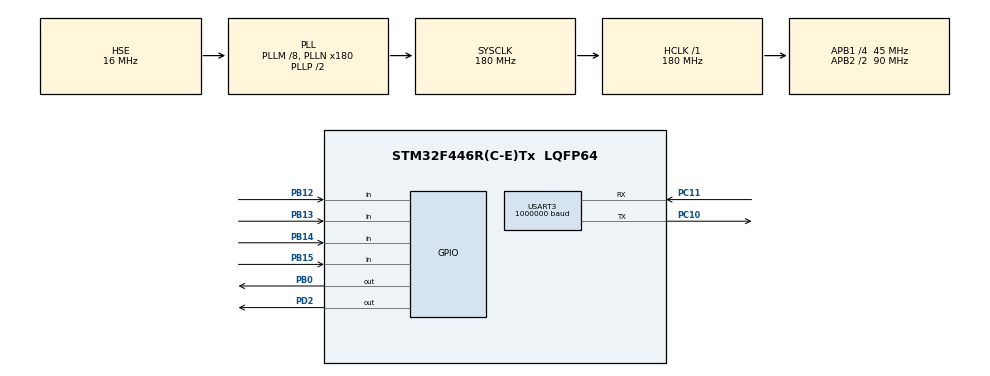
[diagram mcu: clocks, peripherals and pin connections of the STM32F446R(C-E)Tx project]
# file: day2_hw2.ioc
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Dma.Request0=USART3_RX
Dma.USART3_RX.0.Direction=DMA_PERIPH_TO_MEMORY
Dma.USART3_RX.0.FIFOMode=DMA_FIFOMODE_DISABLE
Dma.USART3_RX.0.Instance=DMA1_Stream1
Dma.USART3_RX.0.MemDataAlignment=DMA_MDATAALIGN_BYTE
Dma.USART3_RX.0.MemInc=DMA_MINC_ENABLE
Dma.USART3_RX.0.Mode=DMA_CIRCULAR
Dma.USART3_RX.0.PeriphDataAlignment=DMA_PDATAALIGN_BYTE
Dma.USART3_RX.0.PeriphInc=DMA_PINC_DISABLE
Dma.USART3_RX.0.Priority=DMA_PRIORITY_LOW
Mcu.Family=STM32F4
Mcu.Name=STM32F446R(C-E)Tx
Mcu.Package=LQFP64
NVIC.DMA1_Stream1_IRQn=true\:0\:0\:false\:false\:true\:false\:true\:true
NVIC.PriorityGroup=NVIC_PRIORITYGROUP_4
NVIC.TIM6_DAC_IRQn=true\:0\:0\:false\:false\:true\:true\:true\:true
NVIC.USART3_IRQn=true\:0\:0\:false\:false\:true\:true\:true\:true
PA13.Mode=Serial_Wire
PA13.Signal=SYS_JTMS-SWDIO
PA14.Mode=Serial_Wire
PA14.Signal=SYS_JTCK-SWCLK
PB0.Signal=GPIO_Output
PB12.Signal=GPIO_Input
PB13.Signal=GPIO_Input
PB14.Signal=GPIO_Input
PB15.Signal=GPIO_Input
PC10.Mode=Asynchronous
PC10.Signal=USART3_TX
PC11.Mode=Asynchronous
PC11.Signal=USART3_RX
PD2.Signal=GPIO_Output
PH0-OSC_IN.Mode=HSE-External-Oscillator
PH0-OSC_IN.Signal=RCC_OSC_IN
PH1-OSC_OUT.Mode=HSE-External-Oscillator
PH1-OSC_OUT.Signal=RCC_OSC_OUT
ProjectManager.HeapSize=0x200
ProjectManager.StackSize=0x400
ProjectManager.TargetToolchain=STM32CubeIDE
RCC.AHBFreq_Value=180000000
RCC.APB1CLKDivider=RCC_HCLK_DIV4
RCC.APB1Freq_Value=45000000
RCC.APB1TimFreq_Value=90000000
RCC.APB2CLKDivider=RCC_HCLK_DIV2
RCC.APB2Freq_Value=90000000
RCC.APB2TimFreq_Value=180000000
RCC.CortexFreq_Value=180000000
RCC.HCLKFreq_Value=180000000
RCC.HSE_VALUE=16000000
RCC.PLLM=8
RCC.PLLN=180
RCC.PLLSourceVirtual=RCC_PLLSOURCE_HSE
RCC.SYSCLKFreq_VALUE=180000000
RCC.SYSCLKSource=RCC_SYSCLKSOURCE_PLLCLK
RCC.USBFreq_Value=180000000
RCC.VCOOutputFreq_Value=360000000
TIM6.Period=100-1
TIM6.Prescaler=90-1
USART3.BaudRate=1000000
USART3.VirtualMode=VM_ASYNC
VP_TIM6_VS_ClockSourceINT.Mode=Enable_Timer
board=custom

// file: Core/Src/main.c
/* USER CODE BEGIN Header */
/**
  ******************************************************************************
  * @file           : main.c
  * @brief          : Main program body  (Torque-only test)
  ******************************************************************************
  */
/* USER CODE END Header */
#include "main.h"
#include "dma.h"
#include "tim.h"
#include "usart.h"
#include "gpio.h"

/* USER CODE BEGIN PD */
#define RX_BUFFER_SIZE 256
/* USER CODE END PD */

/* USER CODE BEGIN PV */
uint8_t PCrxBuffer[RX_BUFFER_SIZE];

/* 디버깅용: 마지막으로 보낸 패킷 확인 */
uint8_t lastPacket[16];
uint8_t lastPacketLen = 0;
volatile uint8_t packetReady = 0;
/* USER CODE END PV */

void SystemClock_Config(void);
/* USER CODE BEGIN PFP */
unsigned short update_crc(unsigned short crc_accum, unsigned char *data_blk_ptr, unsigned short data_blk_size);
void writePacket(uint8_t packet[], int length);
void setTorque(uint8_t id, uint8_t on);
void write1Byte(uint8_t id, uint16_t addr, uint8_t data);
void setGoalPosition(uint8_t id, uint32_t position);
/* USER CODE END PFP */

int main(void)
{

  /* MCU Configuration--------------------------------------------------------*/

  /* Reset of all peripherals, Initializes the Flash interface and the Systick. */
  HAL_Init();

  /* Configure the system clock */
  SystemClock_Config();

  /* Initialize all configured peripherals */
  MX_GPIO_Init();
  MX_DMA_Init();
  MX_TIM6_Init();
  MX_USART3_UART_Init();
  /* USER CODE BEGIN 2 */
  LL_DMA_SetMemoryAddress(DMA1, LL_DMA_STREAM_1, (uint32_t)PCrxBuffer);
  LL_DMA_SetPeriphAddress(DMA1, LL_DMA_STREAM_1, (uint32_t)&USART3->DR);
  LL_DMA_SetDataLength(DMA1, LL_DMA_STREAM_1, RX_BUFFER_SIZE);
  LL_DMA_EnableStream(DMA1, LL_DMA_STREAM_1);
  LL_USART_EnableDMAReq_RX(USART3);
  LL_USART_EnableIT_IDLE(USART3);

  /* 모터 부팅 대기 후 토크 ON 한 번만 전송 */
  LL_mDelay(500);            // 모터 부팅 대기
  setTorque(14, 0);          // 1. 토크 OFF
  LL_mDelay(10);
  write1Byte(14, 11, 3);     // 2. Operating Mode = 3 (위치 모드)
  LL_mDelay(50);             //    EEPROM 저장 대기
  setTorque(14, 1);          // 3. 토크 ON
  LL_mDelay(10);
  setGoalPosition(14, 2048); // 4. 테스트: 180도로 이동

  /* setTorque 패킷 기대값:
     FF FF FD 00 0E 06 00 03 40 00 01 [CRC_L] [CRC_H]
     -> lastPacket 에서 확인 */
  /* USER CODE END 2 */

  /* Infinite loop */
  while (1)
  {

    /* USER CODE BEGIN 3 */

	  setTorque(14, 1);          // 3. 토크 ON
	  HAL_GPIO_WritePin(GPIOD, GPIO_PIN_2, GPIO_PIN_RESET);
	  if (HAL_GPIO_ReadPin(GPIOB, GPIO_PIN_12)){
		  setGoalPosition(14, 1024); // 4. 테스트: 90도로 이동
		  HAL_GPIO_WritePin(GPIOB, GPIO_PIN_0, GPIO_PIN_RESET);
	  }
	  else if (HAL_GPIO_ReadPin(GPIOB, GPIO_PIN_13)){
	  		  setGoalPosition(14, 2048); // 4. 테스트: 90도로 이동
	  		  HAL_GPIO_WritePin(GPIOB, GPIO_PIN_0, GPIO_PIN_RESET);
	  	  }
	  else if (HAL_GPIO_ReadPin(GPIOB, GPIO_PIN_14)){
	  		  setGoalPosition(14, 10); // 4. 테스트: 90도로 이동
	  		  HAL_GPIO_WritePin(GPIOB, GPIO_PIN_0, GPIO_PIN_RESET);
	  	  }
	  else{
		  setTorque(14, 0);      // 토크 명령 반복 전송
		  HAL_GPIO_WritePin(GPIOB, GPIO_PIN_0, GPIO_PIN_SET);
	  }
	      LL_mDelay(1000);       // 1초마다

    /* 아무것도 안 함. 토크가 걸리는지 손으로 모터를 돌려 확인.
       뻑뻑하면 토크 ON 성공, 스르륵 돌아가면 실패. */
  }
  /* USER CODE END 3 */
}

void SystemClock_Config(void)
{
  RCC_OscInitTypeDef RCC_OscInitStruct = {0};
  RCC_ClkInitTypeDef RCC_ClkInitStruct = {0};

  /** Configure the main internal regulator output voltage
  */
  __HAL_RCC_PWR_CLK_ENABLE();
  __HAL_PWR_VOLTAGESCALING_CONFIG(PWR_REGULATOR_VOLTAGE_SCALE1);

  /** Initializes the RCC Oscillators according to the specified parameters
  * in the RCC_OscInitTypeDef structure.
  */
  RCC_OscInitStruct.OscillatorType = RCC_OSCILLATORTYPE_HSE;
  RCC_OscInitStruct.HSEState = RCC_HSE_ON;
  RCC_OscInitStruct.PLL.PLLState = RCC_PLL_ON;
  RCC_OscInitStruct.PLL.PLLSource = RCC_PLLSOURCE_HSE;
  RCC_OscInitStruct.PLL.PLLM = 8;
  RCC_OscInitStruct.PLL.PLLN = 180;
  RCC_OscInitStruct.PLL.PLLP = RCC_PLLP_DIV2;
  RCC_OscInitStruct.PLL.PLLQ = 2;
  RCC_OscInitStruct.PLL.PLLR = 2;
  if (HAL_RCC_OscConfig(&RCC_OscInitStruct) != HAL_OK)
  {
    Error_Handler();
  }

  /** Activate the Over-Drive mode
  */
  if (HAL_PWREx_EnableOverDrive() != HAL_OK)
  {
    Error_Handler();
  }

  /** Initializes the CPU, AHB and APB buses clocks
  */
  RCC_ClkInitStruct.ClockType = RCC_CLOCKTYPE_HCLK|RCC_CLOCKTYPE_SYSCLK
                              |RCC_CLOCKTYPE_PCLK1|RCC_CLOCKTYPE_PCLK2;
  RCC_ClkInitStruct.SYSCLKSource = RCC_SYSCLKSOURCE_PLLCLK;
  RCC_ClkInitStruct.AHBCLKDivider = RCC_SYSCLK_DIV1;
  RCC_ClkInitStruct.APB1CLKDivider = RCC_HCLK_DIV4;
  RCC_ClkInitStruct.APB2CLKDivider = RCC_HCLK_DIV2;

  if (HAL_RCC_ClockConfig(&RCC_ClkInitStruct, FLASH_LATENCY_5) != HAL_OK)
  {
    Error_Handler();
  }
}

/* USER CODE BEGIN 4 */
unsigned short update_crc(unsigned short crc_accum, unsigned char *data_blk_ptr, unsigned short data_blk_size)
{
    unsigned short i, j;
    unsigned short crc_table[256] = {
        0x0000, 0x8005, 0x800F, 0x000A, 0x801B, 0x001E, 0x0014, 0x8011,
        0x8033, 0x0036, 0x003C, 0x8039, 0x0028, 0x802D, 0x8027, 0x0022,
        0x8063, 0x0066, 0x006C, 0x8069, 0x0078, 0x807D, 0x8077, 0x0072,
        0x0050, 0x8055, 0x805F, 0x005A, 0x804B, 0x004E, 0x0044, 0x8041,
        0x80C3, 0x00C6, 0x00CC, 0x80C9, 0x00D8, 0x80DD, 0x80D7, 0x00D2,
        0x00F0, 0x80F5, 0x80FF, 0x00FA, 0x80EB, 0x00EE, 0x00E4, 0x80E1,
        0x00A0, 0x80A5, 0x80AF, 0x00AA, 0x80BB, 0x00BE, 0x00B4, 0x80B1,
        0x8093, 0x0096, 0x009C, 0x8099, 0x0088, 0x808D, 0x8087, 0x0082,
        0x8183, 0x0186, 0x018C, 0x8189, 0x0198, 0x819D, 0x8197, 0x0192,
        0x01B0, 0x81B5, 0x81BF, 0x01BA, 0x81AB, 0x01AE, 0x01A4, 0x81A1,
        0x01E0, 0x81E5, 0x81EF, 0x01EA, 0x81FB, 0x01FE, 0x01F4, 0x81F1,
        0x81D3, 0x01D6, 0x01DC, 0x81D9, 0x01C8, 0x81CD, 0x81C7, 0x01C2,
        0x0140, 0x8145, 0x814F, 0x014A, 0x815B, 0x015E, 0x0154, 0x8151,
        0x8173, 0x0176, 0x017C, 0x8179, 0x0168, 0x816D, 0x8167, 0x0162,
        0x8123, 0x0126, 0x012C, 0x8129, 0x0138, 0x813D, 0x8137, 0x0132,
        0x0110, 0x8115, 0x811F, 0x011A, 0x810B, 0x010E, 0x0104, 0x8101,
        0x8303, 0x0306, 0x030C, 0x8309, 0x0318, 0x831D, 0x8317, 0x0312,
        0x0330, 0x8335, 0x833F, 0x033A, 0x832B, 0x032E, 0x0324, 0x8321,
        0x0360, 0x8365, 0x836F, 0x036A, 0x837B, 0x037E, 0x0374, 0x8371,
        0x8353, 0x0356, 0x035C, 0x8359, 0x0348, 0x834D, 0x8347, 0x0342,
        0x03C0, 0x83C5, 0x83CF, 0x03CA, 0x83DB, 0x03DE, 0x03D4, 0x83D1,
        0x83F3, 0x03F6, 0x03FC, 0x83F9, 0x03E8, 0x83ED, 0x83E7, 0x03E2,
        0x83A3, 0x03A6, 0x03AC, 0x83A9, 0x03B8, 0x83BD, 0x83B7, 0x03B2,
        0x0390, 0x8395, 0x839F, 0x039A, 0x838B, 0x038E, 0x0384, 0x8381,
        0x0280, 0x8285, 0x828F, 0x028A, 0x829B, 0x029E, 0x0294, 0x8291,
        0x82B3, 0x02B6, 0x02BC, 0x82B9, 0x02A8, 0x82AD, 0x82A7, 0x02A2,
        0x82E3, 0x02E6, 0x02EC, 0x82E9, 0x02F8, 0x82FD, 0x82F7, 0x02F2,
        0x02D0, 0x82D5, 0x82DF, 0x02DA, 0x82CB, 0x02CE, 0x02C4, 0x82C1,
        0x8243, 0x0246, 0x024C, 0x8249, 0x0258, 0x825D, 0x8257, 0x0252,
        0x0270, 0x8275, 0x827F, 0x027A, 0x826B, 0x026E, 0x0264, 0x8261,
        0x0220, 0x8225, 0x822F, 0x022A, 0x823B, 0x023E, 0x0234, 0x8231,
        0x8213, 0x0216, 0x021C, 0x8219, 0x0208, 0x820D, 0x8207, 0x0202
    };

    for(j = 0; j < data_blk_size; j++)
    {
        i = ((unsigned short)(crc_accum >> 8) ^ data_blk_ptr[j]) & 0xFF;
        crc_accum = (crc_accum << 8) ^ crc_table[i];
    }

    return crc_accum;
}
void write1Byte(uint8_t id, uint16_t addr, uint8_t data) {
    uint8_t packet[13];
    uint16_t crc;
    packet[0]=0xFF; packet[1]=0xFF; packet[2]=0xFD; packet[3]=0x00;
    packet[4]=id;
    packet[5]=6; packet[6]=0;
    packet[7]=0x03;
    packet[8]=addr & 0xFF; packet[9]=(addr >> 8) & 0xFF;
    packet[10]=data;
    crc=update_crc(0, packet, 11);
    packet[11]=crc & 0xFF;
    packet[12]=(crc >> 8) & 0xFF;
    writePacket(packet, 13);
}
void setTorque(uint8_t id, uint8_t on) {
    uint8_t packet[13];
    uint16_t crc;
    packet[0]=0xFF; packet[1]=0xFF; packet[2]=0xFD; packet[3]=0x00;
    packet[4]=id;
    packet[5]=6; packet[6]=0;        // Length = 파라미터3 + 3 = 6
    packet[7]=0x03;                  // Write
    packet[8]=64; packet[9]=0;       // Torque Enable 주소 64 (하위=64, 상위=0)
    packet[10]=on;                   // 1=on, 0=off
    crc=update_crc(0, packet, 11);
    packet[11] = crc & 0xFF;
    packet[12] = (crc >> 8) & 0xFF;								//(crc>>8) & 0xFF;
    writePacket(packet, 13);
}
void setGoalPosition(uint8_t id, uint32_t position) {
    uint8_t packet[16];
    uint16_t crc;
    packet[0]=0xFF; packet[1]=0xFF; packet[2]=0xFD; packet[3]=0x00;
    packet[4]=id;
    packet[5]=9; packet[6]=0;                 // Length = 파라미터6 + 3 = 9
    packet[7]=0x03;                           // Write
    packet[8]=116; packet[9]=0;               // Goal Position 주소 116
    packet[10]=position & 0xFF;               // 위치값 리틀엔디안 4바이트
    packet[11]=(position >> 8) & 0xFF;
    packet[12]=(position >> 16) & 0xFF;
    packet[13]=(position >> 24) & 0xFF;
    crc=update_crc(0, packet, 14);
    packet[14]=crc & 0xFF;
    packet[15]=(crc >> 8) & 0xFF;
    writePacket(packet, 16);
}
void writePacket(uint8_t packet[], int length){
    // 디버깅용: 만든 패킷을 전역 배열에 복사
    for (int i = 0; i < length && i < 16; i++) {
        lastPacket[i] = packet[i];
    }
    lastPacketLen = length;
    packetReady = 1;

    // 전송
    for (int i=0;i<length;i++){
        while(!LL_USART_IsActiveFlag_TXE(USART3));
        LL_USART_TransmitData8(USART3, packet[i]);
    }
    // 마지막 바이트(CRC)까지 완전히 나갈 때까지 대기 (AutoDirection 안전)
    while(!LL_USART_IsActiveFlag_TC(USART3));
}
/* USER CODE END 4 */

void Error_Handler(void)
{
  __disable_irq();
  while (1)
  {
  }
}
